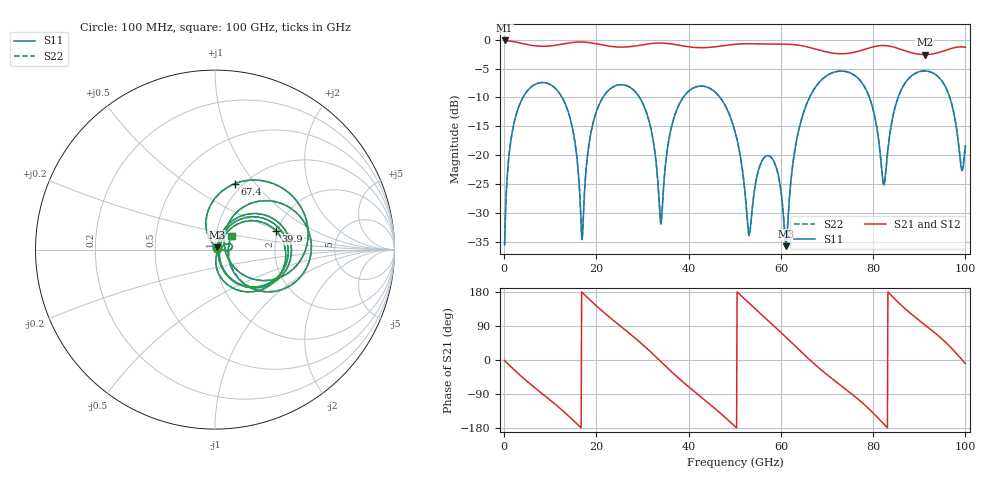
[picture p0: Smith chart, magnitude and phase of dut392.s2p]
! Touchstone file exported from HFSS 2026.1.0
!  File:  C:/ffzhzh/LocalFiles/Ansys_Project_Files/temp_train_TSV_RDL_392_1783718262_45164.aedt
!  Generated:  05:30:54 AM Jul 11, 2026
!  Design:  TSV_RDL
!  Project:  temp_train_TSV_RDL_392_1783718262_45164
! Variables:
!  h_bsmrdl = 3.31um
!  h_ox = 20um
!  h_rdl = 5um
!  h_sub = 95.97um
!  h_tmrdl = 4.64um
!  h_tsv = 95.97um
!  h_via = 3um
!  l_bsmrdl = 139.73um
!  l_sub = 3466.51um
!  l_tmrdl = 630.57um
!  m_sub = 200um
!  pitch = 47.21um
!  r_tsv = 6.79um
!  s_tmrdl = 10um
!  w_bsmrdl = 12.87um
!  w_sub = 500um
!  w_tmrdl = 28.81um
!  x_tsv_center1 = 644.975um
!  x_tsv_center2 = 797.575um
!  x_tsv_center3 = 1456.955um
!  x_tsv_center4 = 1609.555um
!  x_tsv_center5 = 2268.935um
!  x_tsv_center6 = 2421.535um
# GHz S MA R 50.000000
! Terminal data exported
! Port[1] = TM_RDL1_1_T1
! Port[2] = TM_RDL5_1_T1
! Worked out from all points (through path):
!   1000 points, 100 MHz to 100 GHz, reference 50 ohm
!   highest |S21| = -0.11 dB at 100 MHz (marker M1); lowest = -2.6 dB at 91.2 GHz (marker M2)
!   group delay of S21, straight-line fit = 30.1 ps
!   lowest |S11| = -35.8 dB at 61.1 GHz (marker M3), VSWR 1.03, Z = 50.9 + j1.34 ohm
!   |S11| at or under -10 dB: 12.56 GHz to 21.41 GHz (8.846 GHz wide, 52.1 % of centre); 29.35 GHz to 38.81 GHz (9.46 GHz wide, 27.8 % of centre); 46.81 GHz to 66.21 GHz (19.4 GHz wide, 34.3 % of centre) (the widest 3 of 6)
!   |S22| runs from -35.6 to -5.4 dB; largest |S21 - S12| = 2.1e-13
!   S11 on the Smith chart (normalised r, x): 100 MHz: 1.03, +0.02; 39.9 GHz: 1.96, +0.47; 67.4 GHz: 0.92, +0.79; 100 GHz: 1.18, +0.19
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0.1  0.01663 37.8  0.987 -1.3  0.987 -1.3  0.01663 37.8
! Gamma 0 0 0 0
! Port Impedance 50 0 50 0
2.4  0.2093 56.1  0.958 -28.5  0.958 -28.5  0.2093 56.1
7.9  0.4248 2.1  0.8792 -85.4  0.8792 -85.4  0.4248 2.1
14  0.2294 -56.3  0.9379 -148.0  0.9379 -148.0  0.2294 -56.3
16.8  0.02006 -25.4  0.9569 179.6  0.9569 179.6  0.01995 -25.6
19.5  0.2056 52.1  0.9313 148.5  0.9313 148.5  0.2056 52.1
24.3  0.4017 6.5  0.8675 98.6  0.8675 98.6  0.4016 6.6
30.4  0.2615 -50.6  0.9107 36.6  0.9107 36.6  0.2614 -50.6
33.4  0.05333 -60.5  0.9378 2.4  0.9378 2.4  0.0531 -60.9
39.9  0.3553 17.1  0.8708 -69.8  0.8708 -69.8  0.3553 17.2
45.1  0.3689 -31.5  0.8638 -121.9  0.8638 -121.9  0.3689 -31.4
50.1  0.1576 -78.4  0.9148 -175.9  0.9148 -175.9  0.1576 -78.3
53.1  0.02041 -30.1  0.9244 150.1  0.9244 150.1  0.02002 -30.1
57.3  0.09884 10.1  0.9176 103.1  0.9176 103.1  0.09875 10.8
61.1  0.01622 54.1  0.9167 60.1  0.9167 60.1  0.01769 54.8
66.7  0.3451 80.3  0.8475 -4.5  0.8475 -4.5  0.3453 80.1
67.4  0.3837 73.3  0.8324 -12.1  0.8324 -12.1  0.3838 73.2
76.7  0.4649 -10.6  0.794 -103.0  0.794 -103.0  0.4649 -10.5
82.2  0.05669 -2.2  0.8919 -167.5  0.8919 -167.5  0.05728 -1.9
83.4  0.1306 61.7  0.8837 177.1  0.8837 177.1  0.131 61.5
91.2  0.5371 2.3  0.744 92.9  0.744 92.9  0.5372 2.4
100  0.1195 40.5  0.8618 -9.6  0.8618 -9.6  0.1214 39.4
